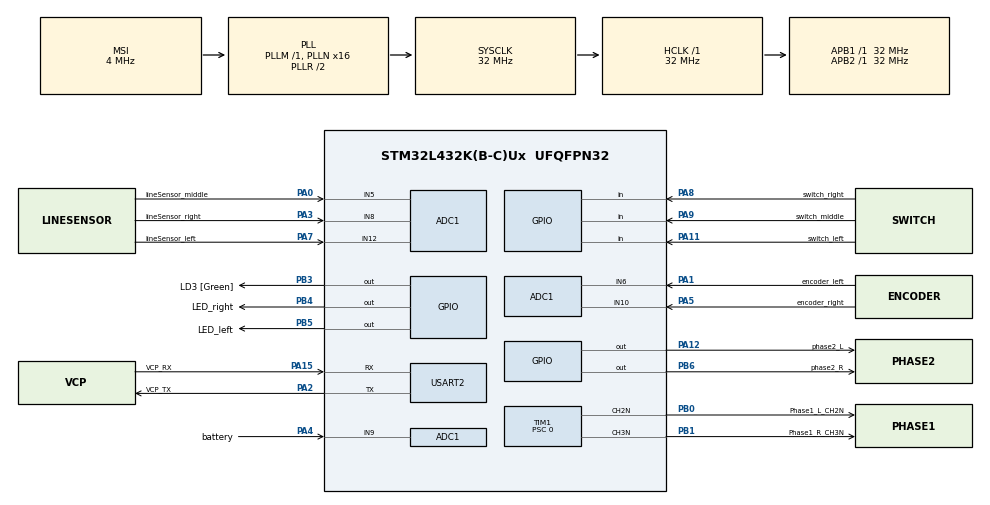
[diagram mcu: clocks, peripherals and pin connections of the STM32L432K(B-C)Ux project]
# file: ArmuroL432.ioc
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ADC1.Channel-0\#ChannelRegularConversion=ADC_CHANNEL_5
ADC1.Channel-1\#ChannelRegularConversion=ADC_CHANNEL_6
ADC1.Channel-2\#ChannelRegularConversion=ADC_CHANNEL_8
ADC1.Channel-3\#ChannelRegularConversion=ADC_CHANNEL_9
ADC1.Channel-4\#ChannelRegularConversion=ADC_CHANNEL_10
ADC1.Channel-5\#ChannelRegularConversion=ADC_CHANNEL_12
ADC1.ClockPrescaler=ADC_CLOCK_ASYNC_DIV4
ADC1.ContinuousConvMode=ENABLE
ADC1.EOCSelection=ADC_EOC_SEQ_CONV
ADC1.NbrOfConversion=6
ADC1.NbrOfConversionFlag=1
ADC1.OffsetNumber-0\#ChannelRegularConversion=ADC_OFFSET_NONE
ADC1.OffsetNumber-1\#ChannelRegularConversion=ADC_OFFSET_NONE
ADC1.OffsetNumber-2\#ChannelRegularConversion=ADC_OFFSET_NONE
ADC1.OffsetNumber-3\#ChannelRegularConversion=ADC_OFFSET_NONE
ADC1.OffsetNumber-4\#ChannelRegularConversion=ADC_OFFSET_NONE
ADC1.OffsetNumber-5\#ChannelRegularConversion=ADC_OFFSET_NONE
ADC1.Rank-0\#ChannelRegularConversion=1
ADC1.Rank-1\#ChannelRegularConversion=2
ADC1.Rank-2\#ChannelRegularConversion=3
ADC1.Rank-3\#ChannelRegularConversion=4
ADC1.Rank-4\#ChannelRegularConversion=5
ADC1.Rank-5\#ChannelRegularConversion=6
ADC1.SamplingTime-0\#ChannelRegularConversion=ADC_SAMPLETIME_2CYCLES_5
ADC1.SamplingTime-1\#ChannelRegularConversion=ADC_SAMPLETIME_2CYCLES_5
ADC1.SamplingTime-2\#ChannelRegularConversion=ADC_SAMPLETIME_2CYCLES_5
ADC1.SamplingTime-3\#ChannelRegularConversion=ADC_SAMPLETIME_2CYCLES_5
ADC1.SamplingTime-4\#ChannelRegularConversion=ADC_SAMPLETIME_2CYCLES_5
ADC1.SamplingTime-5\#ChannelRegularConversion=ADC_SAMPLETIME_2CYCLES_5
ADC1.master=1
Dma.ADC1.0.Direction=DMA_PERIPH_TO_MEMORY
Dma.ADC1.0.Instance=DMA1_Channel1
Dma.ADC1.0.MemDataAlignment=DMA_MDATAALIGN_WORD
Dma.ADC1.0.MemInc=DMA_MINC_ENABLE
Dma.ADC1.0.Mode=DMA_CIRCULAR
Dma.ADC1.0.PeriphDataAlignment=DMA_PDATAALIGN_WORD
Dma.ADC1.0.PeriphInc=DMA_PINC_DISABLE
Dma.ADC1.0.Priority=DMA_PRIORITY_LOW
Dma.Request0=ADC1
Mcu.Family=STM32L4
Mcu.Name=STM32L432K(B-C)Ux
Mcu.Package=UFQFPN32
NVIC.DMA1_Channel1_IRQn=true\:0\:0\:false\:false\:true\:false\:true\:true
NVIC.PriorityGroup=NVIC_PRIORITYGROUP_4
PA0.GPIO_Label=lineSensor_middle
PA0.Signal=ADCx_IN5
PA1.GPIO_Label=encoder_left
PA1.Signal=ADCx_IN6
PA11.GPIO_Label=switch_left
PA11.Signal=GPIO_Input
PA12.GPIO_Label=phase2_L
PA12.PinState=GPIO_PIN_RESET
PA12.Signal=GPIO_Output
PA13\ (JTMS-SWDIO).GPIO_Label=SWDIO
PA13\ (JTMS-SWDIO).Mode=Serial_Wire
PA13\ (JTMS-SWDIO).Signal=SYS_JTMS-SWDIO
PA14\ (JTCK-SWCLK).GPIO_Label=SWCLK
PA14\ (JTCK-SWCLK).Mode=Serial_Wire
PA14\ (JTCK-SWCLK).Signal=SYS_JTCK-SWCLK
PA15\ (JTDI).GPIO_Label=VCP_RX
PA15\ (JTDI).Mode=Asynchronous
PA15\ (JTDI).Signal=USART2_RX
PA2.GPIO_Label=VCP_TX
PA2.Mode=Asynchronous
PA2.Signal=USART2_TX
PA3.GPIO_Label=lineSensor_right
PA3.Signal=ADCx_IN8
PA4.GPIO_Label=battery
PA4.Signal=ADCx_IN9
PA5.GPIO_Label=encoder_right
PA5.Signal=ADCx_IN10
PA7.GPIO_Label=lineSensor_left
PA7.Signal=ADCx_IN12
PA8.GPIO_Label=switch_right
PA8.Signal=GPIO_Input
PA9.GPIO_Label=switch_middle
PA9.Signal=GPIO_Input
PB0.GPIO_Label=Phase1_L_CH2N
PB0.Mode=PWM Generation2 CH2N
PB0.Signal=TIM1_CH2N
PB1.GPIO_Label=Phase1_R_CH3N
PB1.Mode=PWM Generation3 CH3N
PB1.Signal=TIM1_CH3N
PB3\ (JTDO-TRACESWO).GPIO_Label=LD3 [Green]
PB3\ (JTDO-TRACESWO).Signal=GPIO_Output
PB4\ (NJTRST).GPIO_Label=LED_right
PB4\ (NJTRST).Signal=GPIO_Output
PB5.GPIO_Label=LED_left
PB5.Signal=GPIO_Output
PB6.GPIO_Label=phase2_R
PB6.Signal=GPIO_Output
PC14-OSC32_IN\ (PC14).Mode=LSE-External-Oscillator
PC14-OSC32_IN\ (PC14).Signal=RCC_OSC32_IN
PC15-OSC32_OUT\ (PC15).Mode=LSE-External-Oscillator
PC15-OSC32_OUT\ (PC15).Signal=RCC_OSC32_OUT
ProjectManager.HeapSize=0x200
ProjectManager.StackSize=0x400
ProjectManager.TargetToolchain=STM32CubeIDE
RCC.ADCFreq_Value=32000000
RCC.AHBFreq_Value=32000000
RCC.APB1Freq_Value=32000000
RCC.APB1TimFreq_Value=32000000
RCC.APB2Freq_Value=32000000
RCC.APB2TimFreq_Value=32000000
RCC.CortexFreq_Value=32000000
RCC.HCLKFreq_Value=32000000
RCC.HSE_VALUE=8000000
RCC.HSI16_VALUE=16000000
RCC.HSI48_VALUE=48000000
RCC.HSI_VALUE=16000000
RCC.MSI_VALUE=4000000
RCC.PLLMUL=RCC_PLLMUL_4
RCC.PLLN=16
RCC.PLLSAI1N=16
RCC.SYSCLKFreq_VALUE=32000000
RCC.SYSCLKSource=RCC_SYSCLKSOURCE_PLLCLK
RCC.USBFreq_Value=32000000
RCC.VCOOutputFreq_Value=64000000
SH.ADCx_IN10.0=ADC1_IN10,IN10-Single-Ended
SH.ADCx_IN12.0=ADC1_IN12,IN12-Single-Ended
SH.ADCx_IN5.0=ADC1_IN5,IN5-Single-Ended
SH.ADCx_IN6.0=ADC1_IN6,IN6-Single-Ended
SH.ADCx_IN8.0=ADC1_IN8,IN8-Single-Ended
SH.ADCx_IN9.0=ADC1_IN9,IN9-Single-Ended
TIM1.AutoReloadPreload=TIM_AUTORELOAD_PRELOAD_ENABLE
TIM1.Channel-PWM\ Generation2\ CH2N=TIM_CHANNEL_2
TIM1.Channel-PWM\ Generation3\ CH3N=TIM_CHANNEL_3
TIM1.ClockDivision=TIM_CLOCKDIVISION_DIV1
TIM1.OCFastMode_PWM-PWM\ Generation2\ CH2N=TIM_OCFAST_DISABLE
TIM1.OCFastMode_PWM-PWM\ Generation3\ CH3N=TIM_OCFAST_DISABLE
TIM1.OCNPolarity_2=TIM_OCNPOLARITY_HIGH
TIM1.Period=65535
TIM1.Prescaler=0
TIM1.Pulse-PWM\ Generation2\ CH2N=0
TIM1.Pulse-PWM\ Generation3\ CH3N=0
USART2.VirtualMode-Asynchronous=VM_ASYNC
VP_TIM1_VS_ClockSourceINT.Mode=Internal
board=NUCLEO-L432KC

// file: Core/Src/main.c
/* USER CODE BEGIN Header */
/**
 ******************************************************************************
 * @file           : main.c
 * @brief          : Main program body
 ******************************************************************************
 * @attention
 *
 * Copyright (c) 2026 STMicroelectronics.
 * All rights reserved.
 *
 * This software is licensed under terms that can be found in the LICENSE file
 * in the root directory of this software component.
 * If no LICENSE file comes with this software, it is provided AS-IS.
 *
 ******************************************************************************
 */
/* USER CODE END Header */
#include "main.h"
#include "adc.h"
#include "dma.h"
#include "tim.h"
#include "usart.h"
#include "gpio.h"

/* USER CODE BEGIN Includes */
#include <stdio.h>
#include "motor-control.h"
#include "uart_debug.h"
#include "encoder.h"
#include "task_LED.h"
#include "task_drive_forward.h"
#include "task_rotate.h"
#include "task_yparcour.h"
#include "task_linefollower.h"
#include "task_searchLine.h"
#include "task_overcomeGap.h"
#include "task_avoidObstacle.h"
/* USER CODE END Includes */

/* USER CODE BEGIN PTD */
typedef enum {
	ROBOT_DRIVE_YELLOW_PARCOUR,
	ROBOT_FOLLOW_LINE,
	ROBOT_SEARCH_LINE,
	ROBOT_OVERCOME_GAP,
	ROBOT_AVOID_OBSTACLE
} ROBOT_MAIN_STATE;
/* USER CODE END PTD */

/* USER CODE BEGIN PV */
char string_buf[100];

volatile uint32_t adc[6];
uint32_t buffer[6];
volatile uint8_t conversion_done_flag = 1;

ROBOT_MAIN_STATE current_robot_state = ROBOT_DRIVE_YELLOW_PARCOUR;
/*
 * Shared ADC DMA layout used by all behavior tasks.
 * Index   Channel   Pin   Sensor
 * adc[0]  IN5       PA0   lineSensor_middle
 * adc[1]  IN6       PA1   encoder_left
 * adc[2]  IN8       PA3   lineSensor_right
 * adc[3]  IN9       PA4   battery (voltage)
 * adc[4]  IN10      PA5   encoder_right
 * adc[5]  IN12      PA7   lineSensor_left
 */
/* USER CODE END PV */

void SystemClock_Config(void);

/* USER CODE BEGIN 0 */
static uint8_t is_obstacle_detected(void) {
	return (HAL_GPIO_ReadPin(switch_left_GPIO_Port, switch_left_Pin)
			== GPIO_PIN_RESET
			|| HAL_GPIO_ReadPin(switch_middle_GPIO_Port, switch_middle_Pin)
					== GPIO_PIN_RESET
			|| HAL_GPIO_ReadPin(switch_right_GPIO_Port, switch_right_Pin)
					== GPIO_PIN_RESET);
}
/* USER CODE END 0 */

int main(void) {

	/* MCU Configuration--------------------------------------------------------*/

	/* Reset of all peripherals, Initializes the Flash interface and the Systick. */
	HAL_Init();

	/* Configure the system clock */
	SystemClock_Config();

	/* Initialize all configured peripherals */
	MX_GPIO_Init();
	MX_DMA_Init();
	MX_USART2_UART_Init();
	MX_ADC1_Init();
	MX_TIM1_Init();
	/* USER CODE BEGIN 2 */
	HAL_TIMEx_PWMN_Start(&htim1, TIM_CHANNEL_2);
	HAL_TIMEx_PWMN_Start(&htim1, TIM_CHANNEL_3);
	taskLED_Init();
	taskYParcour_Init(45.0f);
	/* USER CODE END 2 */

	/* Infinite loop */
	/* USER CODE BEGIN WHILE */
	while (1) {
		if (conversion_done_flag) {
			conversion_done_flag = 0;

			HAL_ADC_Start_DMA(&hadc1, buffer, 6);
			// Keep encoder Schmitt trigger updates aligned to the ADC DMA cycle.
			schmitt_trigger('l', adc[1]);
			schmitt_trigger('r', adc[4]);

			/*
			 * Main robot state machine:
			 * YPARCOUR -> FOLLOW_LINE
			 * FOLLOW_LINE -> (SEARCH_LINE or AVOID_OBSTACLE)
			 * SEARCH_LINE -> (FOLLOW_LINE or OVERCOME_GAP or AVOID_OBSTACLE)
			 * OVERCOME_GAP -> FOLLOW_LINE
			 * AVOID_OBSTACLE -> FOLLOW_LINE
			 */
			switch (current_robot_state) {
			case ROBOT_DRIVE_YELLOW_PARCOUR:
				taskYParcour();

				if(taskYParcour_GetState() == YPARCOUR_FINISHED) {
					taskYParcour_Stop();
					taskLineFollower_Init(36.0f);
					current_robot_state = ROBOT_FOLLOW_LINE;
					break;
				}
				break;

			case ROBOT_FOLLOW_LINE:
				taskLineFollower();

				if (is_obstacle_detected()) {
					taskLineFollower_Stop();
					taskAvoidObstacle_Init();
					current_robot_state = ROBOT_AVOID_OBSTACLE;
					break;
				}

				// If the line is lost, hand over to the recovery sweep task.
				if (taskLineFollower_GetState() == LINE_LOST) {
					taskSearchLine_Init(36.0f);
					current_robot_state = ROBOT_SEARCH_LINE;
				}
				break;

			case ROBOT_SEARCH_LINE:
				taskSearchLine();

				if (is_obstacle_detected()) {
					taskAvoidObstacle_Init();
					current_robot_state = ROBOT_AVOID_OBSTACLE;
					break;
				}

				if (taskSearchLine_GetState() == SEARCH_SUCCESS) {
					// Reinitialize to leave LINE_LOST and resume closed-loop following.
					taskLineFollower_Init(36.0f);
					current_robot_state = ROBOT_FOLLOW_LINE;
				}
				else if (taskSearchLine_GetState() == SEARCH_FAILED_GAP) {
					// Search sweep found no line: switch to gap traversal behavior.
					taskSearchLine_Init(36.0f);
					taskOvercomeGap_Init(36.0f);
					current_robot_state = ROBOT_OVERCOME_GAP;
				}
				break;

			case ROBOT_OVERCOME_GAP:
				taskOvercomeGap();

				if (taskOvercomeGap_GetState() == GAP_SUCCESS) {
					taskOvercomeGap_Init(36.0f);
					taskLineFollower_Init(36.0f);
					current_robot_state = ROBOT_FOLLOW_LINE;
				}
				break;
			case ROBOT_AVOID_OBSTACLE:
				taskAvoidObstacle();

				if (taskAvoidObstacle_GetState() == AVOID_SUCCESS) {
					taskLineFollower_Init(40.0f);
					current_robot_state = ROBOT_FOLLOW_LINE;
				}
				break;
			}
		}
		taskLED();
		/* USER CODE END WHILE */

	}
}

void SystemClock_Config(void) {
	RCC_OscInitTypeDef RCC_OscInitStruct = { 0 };
	RCC_ClkInitTypeDef RCC_ClkInitStruct = { 0 };

	/** Configure the main internal regulator output voltage
	 */
	if (HAL_PWREx_ControlVoltageScaling(PWR_REGULATOR_VOLTAGE_SCALE1)
			!= HAL_OK) {
		Error_Handler();
	}

	/** Configure LSE Drive Capability
	 */
	HAL_PWR_EnableBkUpAccess();
	__HAL_RCC_LSEDRIVE_CONFIG(RCC_LSEDRIVE_LOW);

	/** Initializes the RCC Oscillators according to the specified parameters
	 * in the RCC_OscInitTypeDef structure.
	 */
	RCC_OscInitStruct.OscillatorType = RCC_OSCILLATORTYPE_LSE
			| RCC_OSCILLATORTYPE_MSI;
	RCC_OscInitStruct.LSEState = RCC_LSE_ON;
	RCC_OscInitStruct.MSIState = RCC_MSI_ON;
	RCC_OscInitStruct.MSICalibrationValue = 0;
	RCC_OscInitStruct.MSIClockRange = RCC_MSIRANGE_6;
	RCC_OscInitStruct.PLL.PLLState = RCC_PLL_ON;
	RCC_OscInitStruct.PLL.PLLSource = RCC_PLLSOURCE_MSI;
	RCC_OscInitStruct.PLL.PLLM = 1;
	RCC_OscInitStruct.PLL.PLLN = 16;
	RCC_OscInitStruct.PLL.PLLP = RCC_PLLP_DIV7;
	RCC_OscInitStruct.PLL.PLLQ = RCC_PLLQ_DIV2;
	RCC_OscInitStruct.PLL.PLLR = RCC_PLLR_DIV2;
	if (HAL_RCC_OscConfig(&RCC_OscInitStruct) != HAL_OK) {
		Error_Handler();
	}

	/** Initializes the CPU, AHB and APB buses clocks
	 */
	RCC_ClkInitStruct.ClockType = RCC_CLOCKTYPE_HCLK | RCC_CLOCKTYPE_SYSCLK
			| RCC_CLOCKTYPE_PCLK1 | RCC_CLOCKTYPE_PCLK2;
	RCC_ClkInitStruct.SYSCLKSource = RCC_SYSCLKSOURCE_PLLCLK;
	RCC_ClkInitStruct.AHBCLKDivider = RCC_SYSCLK_DIV1;
	RCC_ClkInitStruct.APB1CLKDivider = RCC_HCLK_DIV1;
	RCC_ClkInitStruct.APB2CLKDivider = RCC_HCLK_DIV1;

	if (HAL_RCC_ClockConfig(&RCC_ClkInitStruct, FLASH_LATENCY_1) != HAL_OK) {
		Error_Handler();
	}

	/** Enable MSI Auto calibration
	 */
	HAL_RCCEx_EnableMSIPLLMode();
}

/* USER CODE BEGIN 4 */
void HAL_ADC_ConvCpltCallback(ADC_HandleTypeDef *hadc1) {
	// Publish one coherent ADC sample set, then unblock the next control cycle.
	for (int i = 0; i < 6; i++) {
		adc[i] = buffer[i];
	}
	conversion_done_flag = 1;
}
/* USER CODE END 4 */

void Error_Handler(void) {
	__disable_irq();
	while (1) {
	}
}
